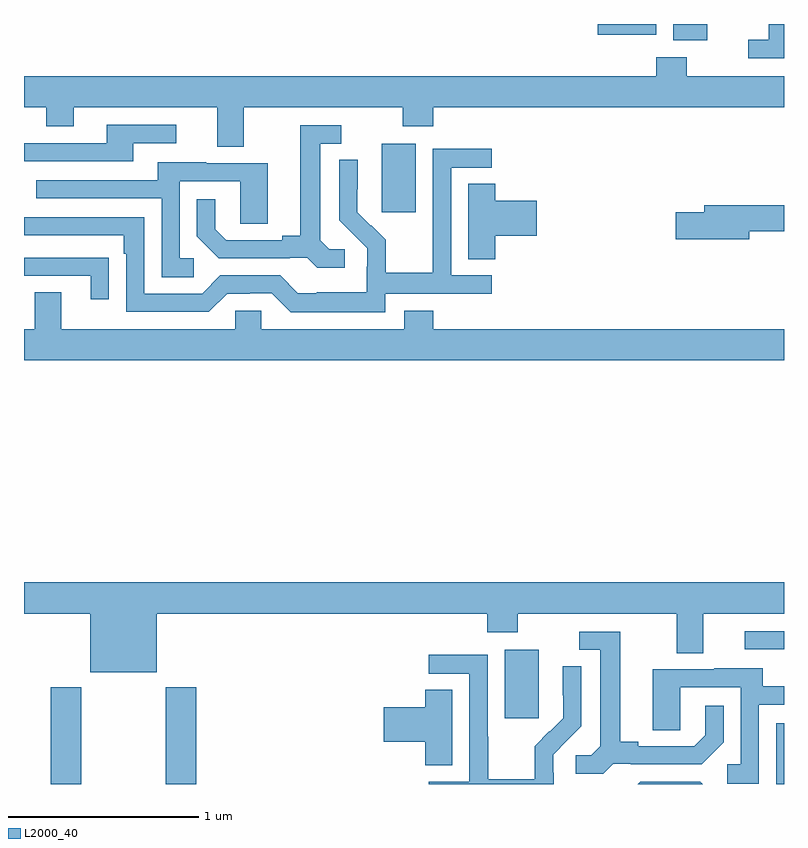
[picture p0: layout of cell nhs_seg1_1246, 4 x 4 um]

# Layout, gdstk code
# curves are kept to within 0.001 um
import gdstk
lib = gdstk.Library(unit=1e-6, precision=1e-09)
def R(c, l, rs):  # rectangles x0, y0, x1, y1
    for r in rs: c.add(gdstk.rectangle(r[:2], r[2:], *l))
def P(c, l, *ps):  # polygons
    for p in ps: c.add(gdstk.Polygon(p, *l))
L2000_40 = (2000, 40)

nhs_seg1_1246 = lib.new_cell('nhs_seg1_1246')
R(nhs_seg1_1246, L2000_40, [(179.141,520.199,179.301,520.708), (179.746,520.199,179.906,520.708), (182.958,520.199,183,520.518), (181.529,520.545,181.708,520.906), (182.793,520.908,183,521.004), (180.884,523.209,181.063,523.57), (182.417,524.114,182.596,524.199), (182.019,524.143,182.328,524.199)])
P(nhs_seg1_1246, L2000_40, [(183,524.199),(182.921,524.199),(182.921,524.115),(182.811,524.115),(182.811,524.019),(183,524.019)],
  [(180.157,523.76),(180.994,523.76),(180.994,523.661),(181.154,523.661),(181.154,523.76),(183,523.76),(183,523.924),(182.487,523.924),(182.487,524.023),(182.327,524.023),(182.327,523.924),(179,523.924),(179,523.76),(179.116,523.76),(179.116,523.661),(179.263,523.661),(179.263,523.76),(180.017,523.76),(180.017,523.552),(180.157,523.552)],
  [(179.575,523.572),(179.8,523.572),(179.8,523.668),(179.435,523.668),(179.435,523.572),(179,523.572),(179,523.476),(179.575,523.476)],
  [(180.688,523.014),(180.606,523.014),(180.559,523.061),(180.559,523.569),(180.67,523.569),(180.67,523.665),(180.455,523.665),(180.455,523.085),(180.359,523.085),(180.359,523.062),(180.064,523.062),(180.007,523.119),(180.007,523.276),(179.91,523.276),(179.91,523.082),(180.026,522.966),(180.398,522.966),(180.398,522.969),(180.492,522.969),(180.544,522.917),(180.688,522.917)],
  [(180.9,522.78),(181.462,522.78),(181.462,522.876),(181.248,522.876),(181.248,523.443),(181.462,523.443),(181.462,523.542),(181.152,523.542),(181.152,523.112),(181.15,523.112),(181.15,522.889),(180.905,522.889),(180.905,523.063),(180.828,523.14),(180.825,523.137),(180.755,523.208),(180.756,523.484),(180.66,523.484),(180.66,523.166),(180.806,523.018),(180.806,522.921),(180.804,522.921),(180.804,522.787),(180.541,522.787),(180.541,522.783),(180.441,522.783),(180.348,522.876),(180.033,522.876),(179.937,522.78),(179.634,522.78),(179.634,523.182),(179,523.182),(179,523.086),(179.525,523.086),(179.525,522.989),(179.538,522.989),(179.538,522.684),(179.973,522.684),(180.069,522.78),(180.188,522.78),(180.188,522.783),(180.303,522.783),(180.403,522.683),(180.9,522.683)],
  [(179.893,522.966),(179.82,522.966),(179.82,523.371),(180.138,523.371),(180.138,523.147),(180.283,523.147),(180.283,523.467),(179.959,523.467),(179.959,523.471),(179.705,523.471),(179.705,523.377),(179.065,523.377),(179.065,523.281),(179.724,523.281),(179.724,522.865),(179.893,522.865)],
  [(181.481,523.085),(181.699,523.085),(181.699,523.268),(181.481,523.268),(181.481,523.358),(181.337,523.358),(181.337,522.961),(181.481,522.961)],
  [(182.818,523.108),(183,523.108),(183,523.244),(182.579,523.244),(182.579,523.208),(182.43,523.208),(182.43,523.066),(182.818,523.066)],
  [(179.447,522.968),(179.345,522.968),(179.345,522.969),(179,522.969),(179,522.873),(179.351,522.873),(179.351,522.75),(179.447,522.75)],
  [(183,522.592),(181.154,522.592),(181.154,522.691),(181.001,522.691),(181.001,522.592),(180.249,522.592),(180.249,522.69),(180.111,522.69),(180.111,522.592),(179.197,522.592),(179.197,522.787),(179.057,522.787),(179.057,522.592),(179,522.592),(179,522.428),(183,522.428)],
  [(179.698,521.096),(181.439,521.096),(181.439,520.997),(181.599,520.997),(181.599,521.096),(182.435,521.096),(182.435,520.888),(182.575,520.888),(182.575,521.096),(183,521.096),(183,521.26),(179,521.26),(179,521.096),(179.348,521.096),(179.348,520.787),(179.698,520.787)],
  [(182.1,520.305),(182.194,520.305),(182.194,520.302),(182.566,520.302),(182.682,520.418),(182.682,520.612),(182.585,520.612),(182.585,520.455),(182.528,520.398),(182.233,520.398),(182.233,520.421),(182.137,520.421),(182.137,521.001),(181.923,521.001),(181.923,520.905),(182.033,520.905),(182.033,520.397),(181.986,520.35),(181.905,520.35),(181.905,520.253),(182.048,520.253)],
  [(181.788,520.257),(181.786,520.257),(181.786,520.354),(181.932,520.502),(181.932,520.82),(181.836,520.82),(181.836,520.666),(181.838,520.666),(181.838,520.544),(181.767,520.473),(181.764,520.476),(181.687,520.399),(181.687,520.225),(181.443,520.225),(181.443,520.448),(181.44,520.448),(181.44,520.878),(181.131,520.878),(181.131,520.779),(181.344,520.779),(181.344,520.212),(181.131,520.212),(181.131,520.199),(181.788,520.199)],
  [(182.868,520.617),(183,520.617),(183,520.713),(182.887,520.713),(182.887,520.807),(182.633,520.807),(182.633,520.803),(182.309,520.803),(182.309,520.483),(182.454,520.483),(182.454,520.707),(182.772,520.707),(182.772,520.302),(182.7,520.302),(182.7,520.201),(182.868,520.201)],
  [(181.255,520.694),(181.112,520.694),(181.112,520.604),(180.894,520.604),(180.894,520.421),(181.112,520.421),(181.112,520.297),(181.255,520.297)],
  [(182.559,520.212),(182.244,520.212),(182.231,520.199),(182.572,520.199)])

lib.write_gds('nhs_seg1_1246.gds')
